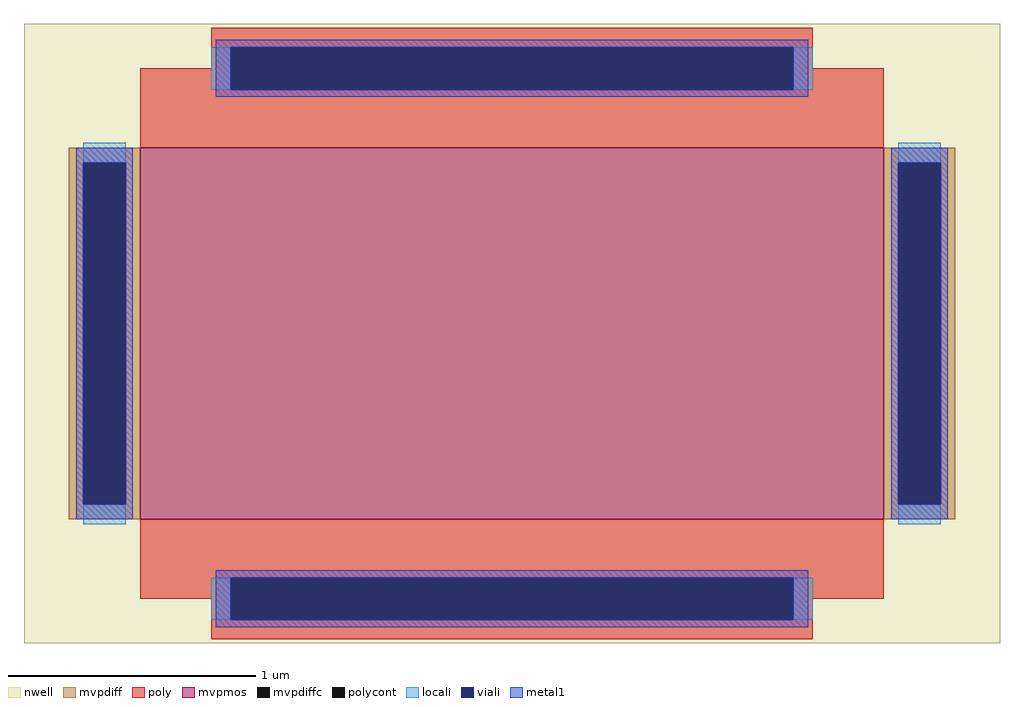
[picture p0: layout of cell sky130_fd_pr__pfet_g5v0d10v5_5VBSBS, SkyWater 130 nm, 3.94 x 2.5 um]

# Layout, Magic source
magic
tech sky130A
magscale 1 2
<< nwell >>
rect -394 -250 394 250
<< mvpmos >>
rect -300 -150 300 150
<< mvpdiff >>
rect -358 138 -300 150
rect -358 -138 -346 138
rect -312 -138 -300 138
rect -358 -150 -300 -138
rect 300 138 358 150
rect 300 -138 312 138
rect 346 -138 358 138
rect 300 -150 358 -138
<< mvpdiffc >>
rect -346 -138 -312 138
rect 312 -138 346 138
<< poly >>
rect -243 231 243 247
rect -243 214 -227 231
rect -300 197 -227 214
rect 227 214 243 231
rect 227 197 300 214
rect -300 150 300 197
rect -300 -197 300 -150
rect -300 -214 -227 -197
rect -243 -231 -227 -214
rect 227 -214 300 -197
rect 227 -231 243 -214
rect -243 -247 243 -231
<< polycont >>
rect -227 197 227 231
rect -227 -231 227 -197
<< locali >>
rect -243 197 -227 231
rect 227 197 243 231
rect -346 138 -312 154
rect -346 -154 -312 -138
rect 312 138 346 154
rect 312 -154 346 -138
rect -243 -231 -227 -197
rect 227 -231 243 -197
<< viali >>
rect -227 197 227 231
rect -346 -138 -312 138
rect 312 -138 346 138
rect -227 -231 227 -197
<< metal1 >>
rect -239 231 239 237
rect -239 197 -227 231
rect 227 197 239 231
rect -239 191 239 197
rect -352 138 -306 150
rect -352 -138 -346 138
rect -312 -138 -306 138
rect -352 -150 -306 -138
rect 306 138 352 150
rect 306 -138 312 138
rect 346 -138 352 138
rect 306 -150 352 -138
rect -239 -197 239 -191
rect -239 -231 -227 -197
rect 227 -231 239 -197
rect -239 -237 239 -231
<< properties >>
string gencell sky130_fd_pr__pfet_g5v0d10v5
string library sky130
string parameters w 1.5 l 3 m 1 nf 1 diffcov 100 polycov 80 guard 0 glc 1 grc 1 gtc 1 gbc 1 tbcov 100 rlcov 100 topc 1 botc 1 poverlap 0 doverlap 1 lmin 0.50 wmin 0.42 class mosfet compatible {sky130_fd_pr__pfet_01v8  sky130_fd_pr__pfet_01v8_lvt sky130_fd_pr__pfet_01v8_hvt  sky130_fd_pr__pfet_g5v0d10v5} full_metal 1 viasrc 100 viadrn 100 viagate 80 viagb 0 viagr 0 viagl 0 viagt 0
<< end >>
